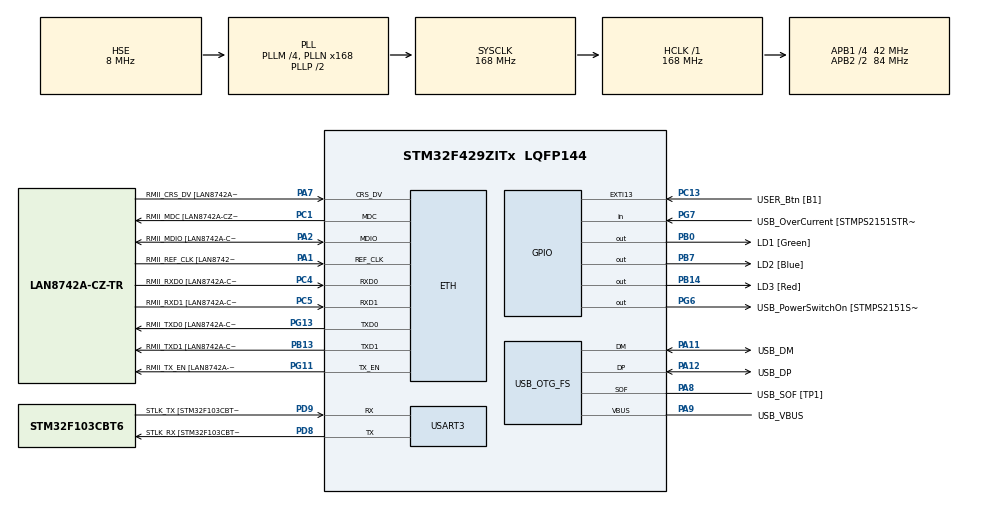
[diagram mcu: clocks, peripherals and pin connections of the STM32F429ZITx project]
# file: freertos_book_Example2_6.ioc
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ETH.MediaInterface=HAL_ETH_RMII_MODE
ETH.PHY_Name=LAN8742A_PHY_ADDRESS
ETH.PHY_Value=0
ETH.PhyAddress=0
FREERTOS.HEAP_NUMBER=4
FREERTOS.MEMORY_ALLOCATION=0
FREERTOS.Tasks01=Task1,0,128,vTaskFunction_,Default,NULL,Dynamic,NULL,NULL;Task2,0,128,vTaskFunction_,Default,NULL,Dynamic,NULL,NULL;Task3,0,128,vTaskFunction_,Default,NULL,Dynamic,NULL,NULL
FREERTOS.configUSE_NEWLIB_REENTRANT=1
Mcu.Family=STM32F4
Mcu.Name=STM32F429ZITx
Mcu.Package=LQFP144
NVIC.PriorityGroup=NVIC_PRIORITYGROUP_4
NVIC.TIM7_IRQn=true\:15\:0\:false\:false\:true\:false\:false\:true\:true
NVIC.TimeBase=TIM7_IRQn
NVIC.TimeBaseIP=TIM7
PA1.GPIO_Label=RMII_REF_CLK [LAN8742A-CZ-TR_REFCLK0]
PA1.Mode=RMII
PA1.Signal=ETH_REF_CLK
PA10.GPIO_Label=USB_ID
PA10.Signal=USB_OTG_FS_ID
PA11.GPIO_Label=USB_DM
PA11.Mode=Device_Only
PA11.Signal=USB_OTG_FS_DM
PA12.GPIO_Label=USB_DP
PA12.Mode=Device_Only
PA12.Signal=USB_OTG_FS_DP
PA13.GPIO_Label=TMS
PA13.Mode=Serial_Wire
PA13.Signal=SYS_JTMS-SWDIO
PA14.GPIO_Label=TCK
PA14.Mode=Serial_Wire
PA14.Signal=SYS_JTCK-SWCLK
PA2.GPIO_Label=RMII_MDIO [LAN8742A-CZ-TR_MDIO]
PA2.Mode=RMII
PA2.Signal=ETH_MDIO
PA7.GPIO_Label=RMII_CRS_DV [LAN8742A-CZ-TR_CRS_DV]
PA7.Mode=RMII
PA7.Signal=ETH_CRS_DV
PA8.GPIO_Label=USB_SOF [TP1]
PA8.Mode=Activate_SOF_FS
PA8.Signal=USB_OTG_FS_SOF
PA9.GPIO_Label=USB_VBUS
PA9.Mode=Activate_VBUS
PA9.Signal=USB_OTG_FS_VBUS
PB0.GPIO_Label=LD1 [Green]
PB0.Signal=GPIO_Output
PB13.GPIO_Label=RMII_TXD1 [LAN8742A-CZ-TR_TXD1]
PB13.Mode=RMII
PB13.Signal=ETH_TXD1
PB14.GPIO_Label=LD3 [Red]
PB14.Signal=GPIO_Output
PB7.GPIO_Label=LD2 [Blue]
PB7.Signal=GPIO_Output
PC1.GPIO_Label=RMII_MDC [LAN8742A-CZ-TR_MDC]
PC1.Mode=RMII
PC1.Signal=ETH_MDC
PC13.GPIO_Label=USER_Btn [B1]
PC13.Signal=GPXTI13
PC14/OSC32_IN.Mode=LSE-External-Oscillator
PC14/OSC32_IN.Signal=RCC_OSC32_IN
PC15/OSC32_OUT.Mode=LSE-External-Oscillator
PC15/OSC32_OUT.Signal=RCC_OSC32_OUT
PC4.GPIO_Label=RMII_RXD0 [LAN8742A-CZ-TR_RXD0]
PC4.Mode=RMII
PC4.Signal=ETH_RXD0
PC5.GPIO_Label=RMII_RXD1 [LAN8742A-CZ-TR_RXD1]
PC5.Mode=RMII
PC5.Signal=ETH_RXD1
PD8.GPIO_Label=STLK_RX [STM32F103CBT6_PA3]
PD8.Mode=Asynchronous
PD8.Signal=USART3_TX
PD9.GPIO_Label=STLK_TX [STM32F103CBT6_PA2]
PD9.Mode=Asynchronous
PD9.Signal=USART3_RX
PG11.GPIO_Label=RMII_TX_EN [LAN8742A-CZ-TR_TXEN]
PG11.Mode=RMII
PG11.Signal=ETH_TX_EN
PG13.GPIO_Label=RMII_TXD0 [LAN8742A-CZ-TR_TXD0]
PG13.Mode=RMII
PG13.Signal=ETH_TXD0
PG6.GPIO_Label=USB_PowerSwitchOn [STMPS2151STR_EN]
PG6.Signal=GPIO_Output
PG7.GPIO_Label=USB_OverCurrent [STMPS2151STR_FAULT]
PG7.Signal=GPIO_Input
PH0/OSC_IN.GPIO_Label=MCO [STM32F103CBT6_PA8]
PH0/OSC_IN.Mode=HSE-External-Clock-Source
PH0/OSC_IN.Signal=RCC_OSC_IN
PH1/OSC_OUT.Mode=HSE-External-Clock-Source
PH1/OSC_OUT.Signal=RCC_OSC_OUT
ProjectManager.HeapSize=0x200
ProjectManager.StackSize=0x400
ProjectManager.TargetToolchain=STM32CubeIDE
RCC.48MHZClocksFreq_Value=48000000
RCC.AHBFreq_Value=168000000
RCC.APB1CLKDivider=RCC_HCLK_DIV4
RCC.APB1Freq_Value=42000000
RCC.APB1TimFreq_Value=84000000
RCC.APB2CLKDivider=RCC_HCLK_DIV2
RCC.APB2Freq_Value=84000000
RCC.APB2TimCLKDivider=2
RCC.APB2TimFreq_Value=168000000
RCC.CortexFreq_Value=168000000
RCC.HCLKFreq_Value=168000000
RCC.HSE_VALUE=8000000
RCC.HSI_VALUE=16000000
RCC.PLLM=4
RCC.PLLMUL=RCC_PLL_MUL9
RCC.PLLN=168
RCC.PLLQ=7
RCC.PRESCALERUSB=RCC_USBCLKSOURCE_PLL_DIV1_5
RCC.SYSCLKFreq_VALUE=168000000
RCC.SYSCLKSource=RCC_SYSCLKSOURCE_PLLCLK
RCC.SYSCLKSourceVirtual=RCC_SYSCLKSOURCE_PLLCLK
RCC.USBFreq_Value=48000000
RCC.VCOOutputFreq_Value=336000000
USART3.VirtualMode=VM_ASYNC
USB_OTG_FS.VirtualMode=Device_Only
VP_FREERTOS_VS_CMSIS_V1.Mode=CMSIS_V1
VP_SYS_VS_tim7.Mode=TIM7
board=NUCLEO-F429ZI

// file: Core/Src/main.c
/* USER CODE BEGIN Header */
/**
 ******************************************************************************
 * @file           : main.c
 * @brief          : Main program body
 ******************************************************************************
 * @attention
 *
 * Copyright (c) 2022 STMicroelectronics.
 * All rights reserved.
 *
 * This software is licensed under terms that can be found in the LICENSE file
 * in the root directory of this software component.
 * If no LICENSE file comes with this software, it is provided AS-IS.
 *
 ******************************************************************************
 */
/* USER CODE END Header */
#include "main.h"
#include "string.h"
#include "cmsis_os.h"

/* USER CODE BEGIN Includes */
/* Standard includes. */
#include <stdio.h>
#include <stdlib.h>

/* Demo includes. */
#include "supportingFunctions.h"

/* Include taskAll with struct type and initialize global variables*/
#if( TASKS_SCOPE == TASKS_OUTSIDE_MAIN2)
#include "taskAll.h"
stmLeds ledSTM01 = { .indexLed = 0, .LDX_Pin = LD1_Pin, .LDX_GPIO_Port =
		LD1_GPIO_Port };
stmLeds ledSTM02 = { .indexLed = 1, .LDX_Pin = LD2_Pin, .LDX_GPIO_Port =
		LD2_GPIO_Port };
stmLeds ledSTM03 = { .indexLed = 2, .LDX_Pin = LD3_Pin, .LDX_GPIO_Port =
		LD3_GPIO_Port };
#endif
/* USER CODE END Includes */

ETH_TxPacketConfig TxConfig;
ETH_DMADescTypeDef DMARxDscrTab[ETH_RX_DESC_CNT]; /* Ethernet Rx DMA Descriptors */
ETH_DMADescTypeDef DMATxDscrTab[ETH_TX_DESC_CNT]; /* Ethernet Tx DMA Descriptors */

ETH_HandleTypeDef heth;

UART_HandleTypeDef huart3;

PCD_HandleTypeDef hpcd_USB_OTG_FS;

osThreadId Task1Handle;
osThreadId Task2Handle;
osThreadId Task3Handle;
/* USER CODE BEGIN PV */
#if( TASKS_SCOPE == TASKS_OUTSIDE_MAIN)
extern void vTaskFunction(void const * argument);
#endif

#if( TASKS_SCOPE == TASKS_OUTSIDE_MAIN2)
extern void vTaskFunction(void const *argument);
#endif

/* USER CODE END PV */

void SystemClock_Config(void);
static void MX_GPIO_Init(void);
static void MX_ETH_Init(void);
static void MX_USART3_UART_Init(void);
static void MX_USB_OTG_FS_PCD_Init(void);
void vTaskFunction_(void const *argument);

int main(void) {
	/* USER CODE BEGIN 1 */
	const char *pcTextForMain =
			"freertos_book_Example2_6 is running: PO (2 de 6)\r\n\n";

#if( TASKS_SCOPE == TASKS_OUTSIDE_MAIN)
	uint32_t index;
#endif

	/* USER CODE END 1 */

	/* MCU Configuration--------------------------------------------------------*/

	/* Reset of all peripherals, Initializes the Flash interface and the Systick. */
	HAL_Init();

	/* Configure the system clock */
	SystemClock_Config();

	/* Initialize all configured peripherals */
	MX_GPIO_Init();
	MX_ETH_Init();
	MX_USART3_UART_Init();
	MX_USB_OTG_FS_PCD_Init();
	/* USER CODE BEGIN 2 */
	/* Print out the name of this Example. */
	vPrintString(pcTextForMain);

#if( TASKS_SCOPE == TASKS_OUTSIDE_MAIN)
	  /* Create the thread(s) */
	  /* definition and creation of Task1 */
	  index = 0;
	  osThreadDef(Task1, vTaskFunction, osPriorityNormal, 0, 128);
	  Task1Handle = osThreadCreate(osThread(Task1), (void*) index);

	  /* definition and creation of Task2 */
	  index = 1;
	  osThreadDef(Task2, vTaskFunction, osPriorityNormal, 0, 128);
	  Task2Handle = osThreadCreate(osThread(Task2), (void*) index);

	  /* definition and creation of Task3 */
	  index = 2;
	  osThreadDef(Task3, vTaskFunction, osPriorityNormal, 0, 128);
	  Task3Handle = osThreadCreate(osThread(Task3), (void*) index);
#endif

#if( TASKS_SCOPE == TASKS_OUTSIDE_MAIN2)

	/* Create the thread(s) */
	/* definition and creation of Task1 */
	osThreadDef(Task1, vTaskFunction, osPriorityNormal, 0, 128);
	Task1Handle = osThreadCreate(osThread(Task1), (void*) &ledSTM01);

	/* definition and creation of Task2 */
	osThreadDef(Task2, vTaskFunction, osPriorityNormal, 0, 128);
	Task2Handle = osThreadCreate(osThread(Task2), (void*) &ledSTM02);

	/* definition and creation of Task3 */
	osThreadDef(Task3, vTaskFunction, osPriorityNormal, 0, 128);
	Task3Handle = osThreadCreate(osThread(Task3), (void*) &ledSTM03);
#endif
	/* USER CODE END 2 */

	/* USER CODE BEGIN RTOS_QUEUES */
	/* add queues, ... */
#if( TASKS_SCOPE == TASKS_INSIDE_MAIN)
  /* USER CODE END RTOS_QUEUES */

  /* Create the thread(s) */
  /* definition and creation of Task1 */
  osThreadDef(Task1, vTaskFunction_, osPriorityNormal, 0, 128);
  Task1Handle = osThreadCreate(osThread(Task1), NULL);

  /* definition and creation of Task2 */
  osThreadDef(Task2, vTaskFunction_, osPriorityNormal, 0, 128);
  Task2Handle = osThreadCreate(osThread(Task2), NULL);

  /* definition and creation of Task3 */
  osThreadDef(Task3, vTaskFunction_, osPriorityNormal, 0, 128);
  Task3Handle = osThreadCreate(osThread(Task3), NULL);

  /* USER CODE BEGIN RTOS_THREADS */
  /* add threads, ... */
#endif
	/* USER CODE END RTOS_THREADS */

	/* Start scheduler */
	osKernelStart();

	/* We should never get here as control is now taken by the scheduler */
	/* Infinite loop */
	while (1) {

	}
}

void SystemClock_Config(void) {
	RCC_OscInitTypeDef RCC_OscInitStruct = { 0 };
	RCC_ClkInitTypeDef RCC_ClkInitStruct = { 0 };

	/** Configure the main internal regulator output voltage
	 */
	__HAL_RCC_PWR_CLK_ENABLE();
	__HAL_PWR_VOLTAGESCALING_CONFIG(PWR_REGULATOR_VOLTAGE_SCALE1);

	/** Initializes the RCC Oscillators according to the specified parameters
	 * in the RCC_OscInitTypeDef structure.
	 */
	RCC_OscInitStruct.OscillatorType = RCC_OSCILLATORTYPE_HSE;
	RCC_OscInitStruct.HSEState = RCC_HSE_BYPASS;
	RCC_OscInitStruct.PLL.PLLState = RCC_PLL_ON;
	RCC_OscInitStruct.PLL.PLLSource = RCC_PLLSOURCE_HSE;
	RCC_OscInitStruct.PLL.PLLM = 4;
	RCC_OscInitStruct.PLL.PLLN = 168;
	RCC_OscInitStruct.PLL.PLLP = RCC_PLLP_DIV2;
	RCC_OscInitStruct.PLL.PLLQ = 7;
	if (HAL_RCC_OscConfig(&RCC_OscInitStruct) != HAL_OK) {
		Error_Handler();
	}

	/** Initializes the CPU, AHB and APB buses clocks
	 */
	RCC_ClkInitStruct.ClockType = RCC_CLOCKTYPE_HCLK | RCC_CLOCKTYPE_SYSCLK
			| RCC_CLOCKTYPE_PCLK1 | RCC_CLOCKTYPE_PCLK2;
	RCC_ClkInitStruct.SYSCLKSource = RCC_SYSCLKSOURCE_PLLCLK;
	RCC_ClkInitStruct.AHBCLKDivider = RCC_SYSCLK_DIV1;
	RCC_ClkInitStruct.APB1CLKDivider = RCC_HCLK_DIV4;
	RCC_ClkInitStruct.APB2CLKDivider = RCC_HCLK_DIV2;

	if (HAL_RCC_ClockConfig(&RCC_ClkInitStruct, FLASH_LATENCY_5) != HAL_OK) {
		Error_Handler();
	}
}

static void MX_ETH_Init(void) {

	static uint8_t MACAddr[6];

	heth.Instance = ETH;
	MACAddr[0] = 0x00;
	MACAddr[1] = 0x80;
	MACAddr[2] = 0xE1;
	MACAddr[3] = 0x00;
	MACAddr[4] = 0x00;
	MACAddr[5] = 0x00;
	heth.Init.MACAddr = &MACAddr[0];
	heth.Init.MediaInterface = HAL_ETH_RMII_MODE;
	heth.Init.TxDesc = DMATxDscrTab;
	heth.Init.RxDesc = DMARxDscrTab;
	heth.Init.RxBuffLen = 1524;

	if (HAL_ETH_Init(&heth) != HAL_OK) {
		Error_Handler();
	}

	memset(&TxConfig, 0, sizeof(ETH_TxPacketConfig));
	TxConfig.Attributes = ETH_TX_PACKETS_FEATURES_CSUM
			| ETH_TX_PACKETS_FEATURES_CRCPAD;
	TxConfig.ChecksumCtrl = ETH_CHECKSUM_IPHDR_PAYLOAD_INSERT_PHDR_CALC;
	TxConfig.CRCPadCtrl = ETH_CRC_PAD_INSERT;

}

static void MX_USART3_UART_Init(void) {

	huart3.Instance = USART3;
	huart3.Init.BaudRate = 115200;
	huart3.Init.WordLength = UART_WORDLENGTH_8B;
	huart3.Init.StopBits = UART_STOPBITS_1;
	huart3.Init.Parity = UART_PARITY_NONE;
	huart3.Init.Mode = UART_MODE_TX_RX;
	huart3.Init.HwFlowCtl = UART_HWCONTROL_NONE;
	huart3.Init.OverSampling = UART_OVERSAMPLING_16;
	if (HAL_UART_Init(&huart3) != HAL_OK) {
		Error_Handler();
	}

}

static void MX_USB_OTG_FS_PCD_Init(void) {

	hpcd_USB_OTG_FS.Instance = USB_OTG_FS;
	hpcd_USB_OTG_FS.Init.dev_endpoints = 4;
	hpcd_USB_OTG_FS.Init.speed = PCD_SPEED_FULL;
	hpcd_USB_OTG_FS.Init.dma_enable = DISABLE;
	hpcd_USB_OTG_FS.Init.phy_itface = PCD_PHY_EMBEDDED;
	hpcd_USB_OTG_FS.Init.Sof_enable = ENABLE;
	hpcd_USB_OTG_FS.Init.low_power_enable = DISABLE;
	hpcd_USB_OTG_FS.Init.lpm_enable = DISABLE;
	hpcd_USB_OTG_FS.Init.vbus_sensing_enable = ENABLE;
	hpcd_USB_OTG_FS.Init.use_dedicated_ep1 = DISABLE;
	if (HAL_PCD_Init(&hpcd_USB_OTG_FS) != HAL_OK) {
		Error_Handler();
	}

}

static void MX_GPIO_Init(void) {
	GPIO_InitTypeDef GPIO_InitStruct = { 0 };

	/* GPIO Ports Clock Enable */
	__HAL_RCC_GPIOC_CLK_ENABLE();
	__HAL_RCC_GPIOH_CLK_ENABLE();
	__HAL_RCC_GPIOA_CLK_ENABLE();
	__HAL_RCC_GPIOB_CLK_ENABLE();
	__HAL_RCC_GPIOD_CLK_ENABLE();
	__HAL_RCC_GPIOG_CLK_ENABLE();

	/*Configure GPIO pin Output Level */
	HAL_GPIO_WritePin(GPIOB, LD1_Pin | LD3_Pin | LD2_Pin, GPIO_PIN_RESET);

	/*Configure GPIO pin Output Level */
	HAL_GPIO_WritePin(USB_PowerSwitchOn_GPIO_Port, USB_PowerSwitchOn_Pin,
			GPIO_PIN_RESET);

	/*Configure GPIO pin : USER_Btn_Pin */
	GPIO_InitStruct.Pin = USER_Btn_Pin;
	GPIO_InitStruct.Mode = GPIO_MODE_IT_RISING;
	GPIO_InitStruct.Pull = GPIO_NOPULL;
	HAL_GPIO_Init(USER_Btn_GPIO_Port, &GPIO_InitStruct);

	/*Configure GPIO pins : LD1_Pin LD3_Pin LD2_Pin */
	GPIO_InitStruct.Pin = LD1_Pin | LD3_Pin | LD2_Pin;
	GPIO_InitStruct.Mode = GPIO_MODE_OUTPUT_PP;
	GPIO_InitStruct.Pull = GPIO_NOPULL;
	GPIO_InitStruct.Speed = GPIO_SPEED_FREQ_LOW;
	HAL_GPIO_Init(GPIOB, &GPIO_InitStruct);

	/*Configure GPIO pin : USB_PowerSwitchOn_Pin */
	GPIO_InitStruct.Pin = USB_PowerSwitchOn_Pin;
	GPIO_InitStruct.Mode = GPIO_MODE_OUTPUT_PP;
	GPIO_InitStruct.Pull = GPIO_NOPULL;
	GPIO_InitStruct.Speed = GPIO_SPEED_FREQ_LOW;
	HAL_GPIO_Init(USB_PowerSwitchOn_GPIO_Port, &GPIO_InitStruct);

	/*Configure GPIO pin : USB_OverCurrent_Pin */
	GPIO_InitStruct.Pin = USB_OverCurrent_Pin;
	GPIO_InitStruct.Mode = GPIO_MODE_INPUT;
	GPIO_InitStruct.Pull = GPIO_NOPULL;
	HAL_GPIO_Init(USB_OverCurrent_GPIO_Port, &GPIO_InitStruct);

}

void vTaskFunction_(void const *argument) {
	/* USER CODE BEGIN 5 */
	char *pcTaskName;

	/* Print out the name of this task. */
	pcTaskName = (char*) pcTaskGetName( NULL);
	vPrintTwoStrings(pcTaskName, "- is running\r\n");

	/* Infinite loop */
	for (;;) {
		osDelay(1);
	}
	/* USER CODE END 5 */
}

void HAL_TIM_PeriodElapsedCallback(TIM_HandleTypeDef *htim) {
	if (htim->Instance == TIM7) {
		HAL_IncTick();
	}
}

void Error_Handler(void) {
	__disable_irq();
	while (1) {
	}
}
